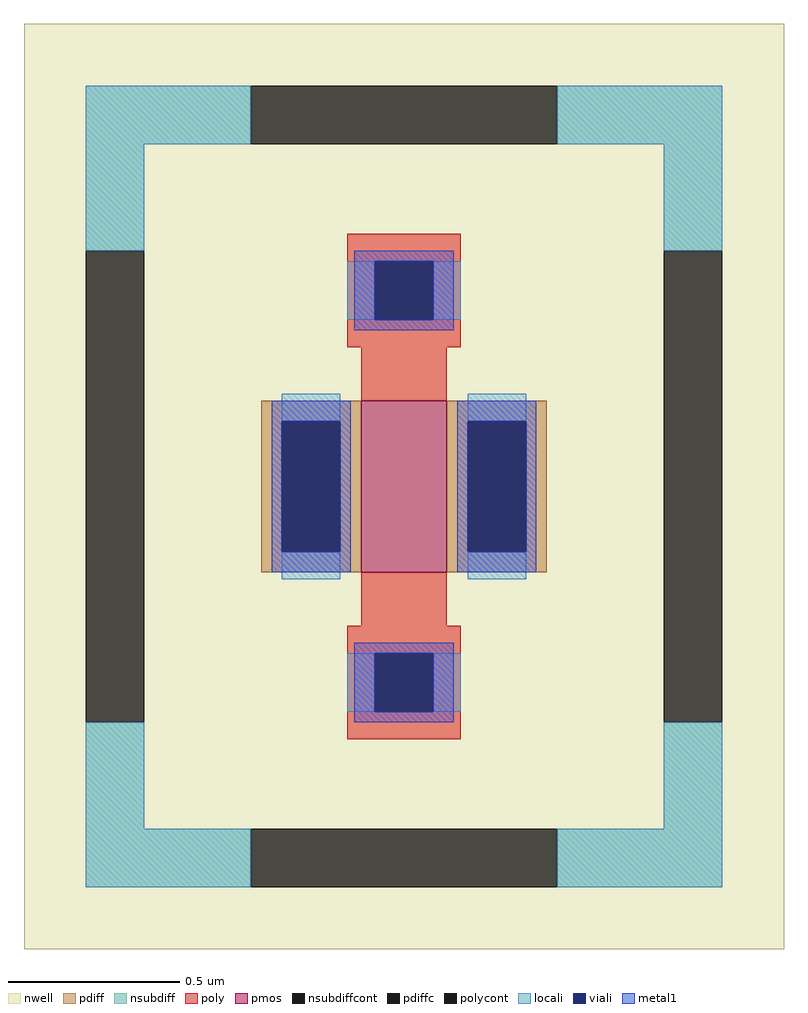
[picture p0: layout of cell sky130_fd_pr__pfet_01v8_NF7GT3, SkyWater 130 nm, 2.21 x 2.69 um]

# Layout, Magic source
magic
tech sky130A
magscale 1 2
<< nwell >>
rect -221 -269 221 269
<< pmos >>
rect -25 -50 25 50
<< pdiff >>
rect -83 38 -25 50
rect -83 -38 -71 38
rect -37 -38 -25 38
rect -83 -50 -25 -38
rect 25 38 83 50
rect 25 -38 37 38
rect 71 -38 83 38
rect 25 -50 83 -38
<< pdiffc >>
rect -71 -38 -37 38
rect 37 -38 71 38
<< nsubdiff >>
rect -185 199 -89 233
rect 89 199 185 233
rect -185 137 -151 199
rect 151 137 185 199
rect -185 -199 -151 -137
rect 151 -199 185 -137
rect -185 -233 -89 -199
rect 89 -233 185 -199
<< nsubdiffcont >>
rect -89 199 89 233
rect -185 -137 -151 137
rect 151 -137 185 137
rect -89 -233 89 -199
<< poly >>
rect -33 131 33 147
rect -33 97 -17 131
rect 17 97 33 131
rect -33 81 33 97
rect -25 50 25 81
rect -25 -81 25 -50
rect -33 -97 33 -81
rect -33 -131 -17 -97
rect 17 -131 33 -97
rect -33 -147 33 -131
<< polycont >>
rect -17 97 17 131
rect -17 -131 17 -97
<< locali >>
rect -185 199 -89 233
rect 89 199 185 233
rect -185 137 -151 199
rect 151 137 185 199
rect -33 97 -17 131
rect 17 97 33 131
rect -71 38 -37 54
rect -71 -54 -37 -38
rect 37 38 71 54
rect 37 -54 71 -38
rect -33 -131 -17 -97
rect 17 -131 33 -97
rect -185 -199 -151 -137
rect 151 -199 185 -137
rect -185 -233 -89 -199
rect 89 -233 185 -199
<< viali >>
rect -17 97 17 131
rect -71 -38 -37 38
rect 37 -38 71 38
rect -17 -131 17 -97
<< metal1 >>
rect -29 131 29 137
rect -29 97 -17 131
rect 17 97 29 131
rect -29 91 29 97
rect -77 38 -31 50
rect -77 -38 -71 38
rect -37 -38 -31 38
rect -77 -50 -31 -38
rect 31 38 77 50
rect 31 -38 37 38
rect 71 -38 77 38
rect 31 -50 77 -38
rect -29 -97 29 -91
rect -29 -131 -17 -97
rect 17 -131 29 -97
rect -29 -137 29 -131
<< properties >>
string FIXED_BBOX -168 -216 168 216
string gencell sky130_fd_pr__pfet_01v8
string library sky130
string parameters w 0.5 l 0.25 m 1 nf 1 diffcov 100 polycov 100 guard 1 glc 1 grc 1 gtc 1 gbc 1 tbcov 100 rlcov 100 topc 1 botc 1 poverlap 0 doverlap 1 lmin 0.15 wmin 0.42 compatible {sky130_fd_pr__pfet_01v8  sky130_fd_pr__pfet_01v8_lvt sky130_fd_pr__pfet_01v8_hvt  sky130_fd_pr__pfet_g5v0d10v5} full_metal 1 viasrc 100 viadrn 100 viagate 100 viagb 0 viagr 0 viagl 0 viagt 0
<< end >>
